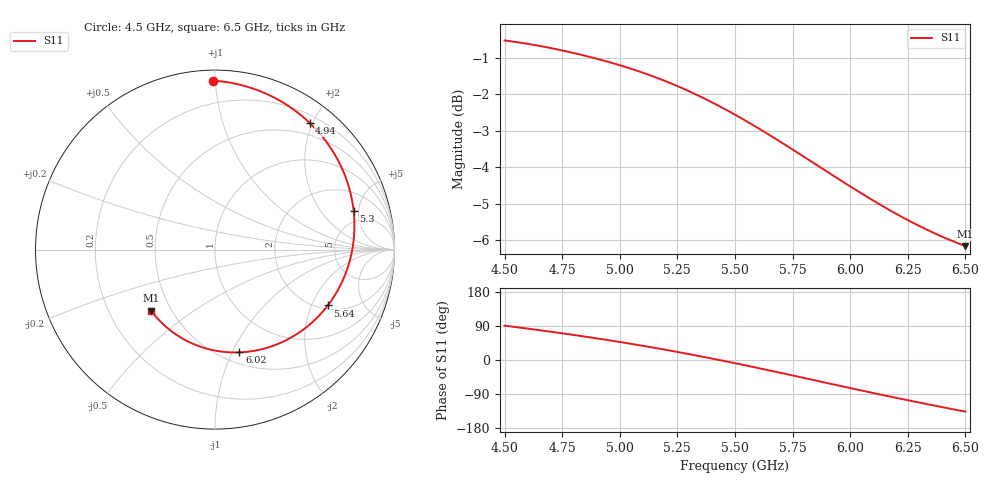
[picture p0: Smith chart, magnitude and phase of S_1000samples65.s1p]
! TOUCHSTONE file generated by CST MICROWAVE STUDIO
! Date and time: Wed Oct 26 21:02:45 2022
! Project name: L.cst
! Parameters = {Di=1.27; Epsilon_r=1.56; InnerDiameter=1.27; Length=2; Lf=10; Lg=60; OuterConductorThickness=0.2921; OuterDiameter=3.6; Wf=3; Wp=41.2; de=1.5; df=6.8; g=0.8; gx=3.10403; gy=3.54684; h=2.34; hf=1.524; px=11.9754; py=12.2173; w=9.7; wx=8.87137; wy=8.67043}
! Header version: 2018
! Port assignment regex: !\s*Touchstone port\s*([0-9]+)\s*=\s*(CST MWS port|CST DS port)\s*([0-9]+|Zmin|Zmax)\s*\(\"(.*)\"\)(\s*mode\s*([0-9]+))?.*
! Touchstone port assignment:
! Touchstone port 1 = CST MWS port 1 ("")
# GHz S DB R 50
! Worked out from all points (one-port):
!   101 points, 4.5 GHz to 6.5 GHz, reference 50 ohm
!   lowest |S11| = -6.2 dB at 6.5 GHz (marker M1), VSWR 2.94, Z = 19.4 - j17.4 ohm
!   |S11| at or under -10 dB: nowhere
!   S11 on the Smith chart (normalised r, x): 4.5 GHz: 0.06, +0.99; 4.94 GHz: 0.31, +1.95; 5.3 GHz: 3.64, +4.39; 5.64 GHz: 2.17, -2.65; 6.02 GHz: 0.61, -1.07; 6.5 GHz: 0.39, -0.35
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4.5  -0.53 90.6
4.58  -0.60 84.4
4.64  -0.66 79.6
4.76  -0.82 69.6
4.86  -0.96 60.7
4.94  -1.10 53.3
5  -1.21 47.5
5.08  -1.37 39.5
5.14  -1.50 33.2
5.2  -1.65 26.8
5.26  -1.81 20.1
5.3  -1.92 15.6
5.4  -2.22 3.8
5.5  -2.56 -8.5
5.56  -2.78 -16.0
5.64  -3.08 -26.3
5.7  -3.32 -34.2
5.76  -3.56 -42.1
5.82  -3.80 -50.1
5.88  -4.04 -58.1
5.94  -4.29 -66.1
6  -4.53 -74.0
6.02  -4.60 -76.7
6.08  -4.84 -84.5
6.14  -5.06 -92.3
6.26  -5.48 -107.4
6.38  -5.85 -122.0
6.5  -6.16 -136.3
